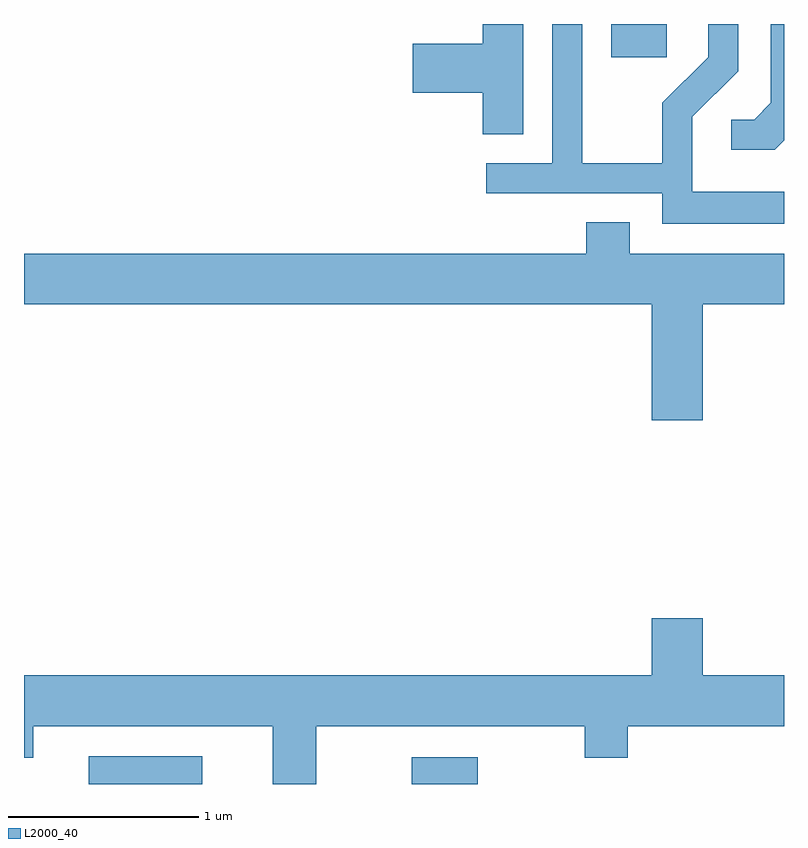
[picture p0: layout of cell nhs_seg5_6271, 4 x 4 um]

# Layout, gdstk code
import gdstk
lib = gdstk.Library(unit=1e-6, precision=1e-09)
def R(c, l, rs):  # rectangles x0, y0, x1, y1
    for r in rs: c.add(gdstk.rectangle(r[:2], r[2:], *l))
def P(c, l, *ps):  # polygons
    for p in ps: c.add(gdstk.Polygon(p, *l))
L2000_40 = (2000, 40)

nhs_seg5_6271 = lib.new_cell('nhs_seg5_6271')
R(nhs_seg5_6271, L2000_40, [(371.951,1432.072,372.548,1432.219), (373.651,1432.072,373.998,1432.214), (374.701,1435.896,374.994,1436.072)])
P(nhs_seg5_6271, L2000_40, [(375.611,1435.189),(375.129,1435.189),(375.129,1435.584),(375.369,1435.824),(375.369,1436.072),(375.211,1436.072),(375.211,1435.897),(374.971,1435.657),(374.971,1435.339),(374.549,1435.339),(374.549,1436.072),(374.391,1436.072),(374.391,1435.339),(374.043,1435.339),(374.043,1435.181),(374.971,1435.181),(374.971,1435.021),(375.611,1435.021)],
  [(375.611,1435.46),(375.611,1436.072),(375.541,1436.072),(375.541,1435.657),(375.454,1435.569),(375.333,1435.569),(375.333,1435.411),(375.562,1435.411)],
  [(374.239,1436.072),(374.026,1436.072),(374.026,1435.969),(373.656,1435.969),(373.656,1435.711),(374.026,1435.711),(374.026,1435.491),(374.239,1435.491)],
  [(375.184,1434.596),(375.611,1434.596),(375.611,1434.864),(374.799,1434.864),(374.799,1435.029),(374.571,1435.029),(374.571,1434.864),(371.611,1434.864),(371.611,1434.596),(374.916,1434.596),(374.916,1433.986),(375.184,1433.986)],
  [(373.149,1432.376),(374.561,1432.376),(374.561,1432.211),(374.789,1432.211),(374.789,1432.376),(375.611,1432.376),(375.611,1432.644),(375.184,1432.644),(375.184,1432.944),(374.916,1432.944),(374.916,1432.644),(371.611,1432.644),(371.611,1432.211),(371.659,1432.211),(371.659,1432.376),(372.921,1432.376),(372.921,1432.072),(373.149,1432.072)])

lib.write_gds('nhs_seg5_6271.gds')
